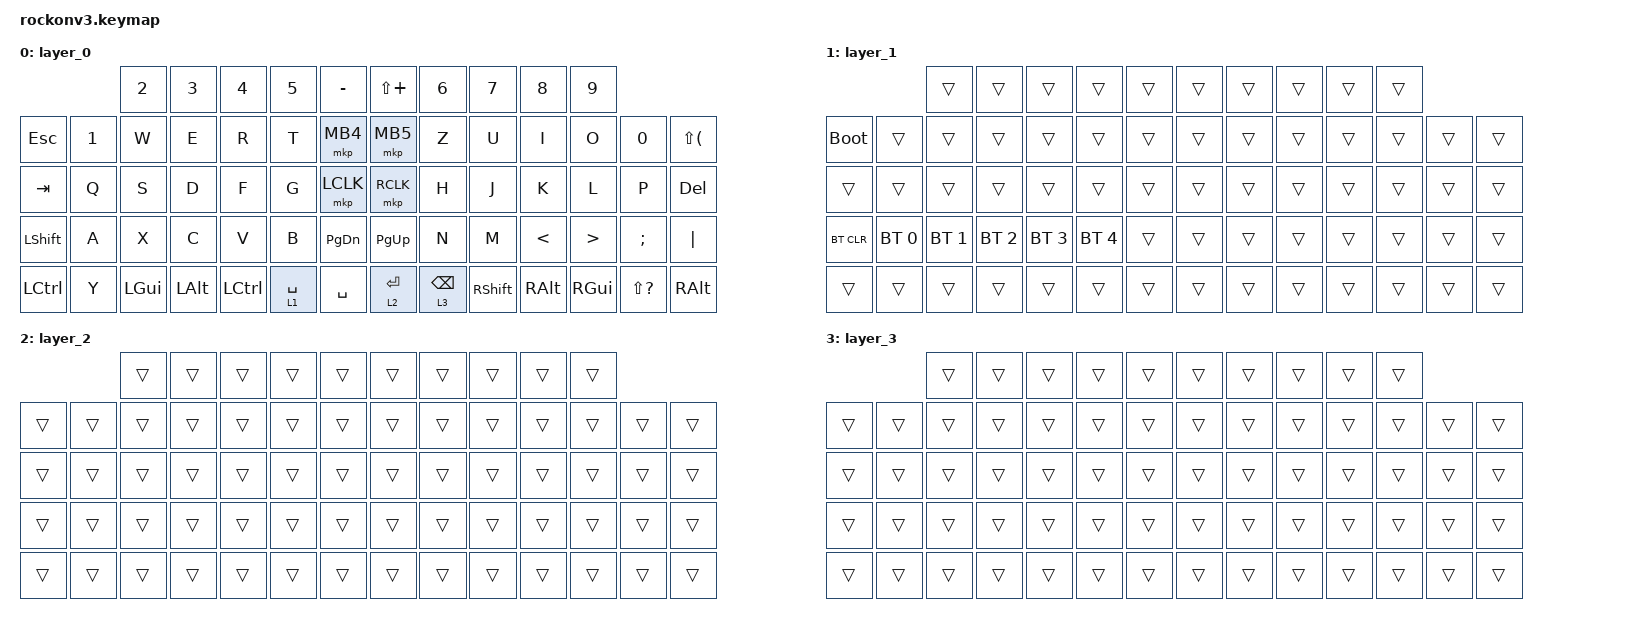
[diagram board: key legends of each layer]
#include "keys_hu.h"
#include <behaviors.dtsi>
#include <dt-bindings/zmk/bt.h>
#include <dt-bindings/zmk/keys.h>

#define BASE 0
#define LOWER 1
#define MOUSE_KEYS 2
#define MOUSE_TP 3
#define MOUSE_TP_SET 4

#define HAS_MOUSE_KEYS
#define HAS_MOUSE_TP

#ifdef HAS_MOUSE_KEYS
  #include <dt-bindings/zmk/mouse.h>
  #include <behaviors/mouse_keys.dtsi>
#endif  // HAS_MOUSE_KEYS

#ifdef HAS_MOUSE_TP
  // We store the trackpoint settings in a separate file
  // to make organization a little easier.
  #include "include/mouse_tp.dtsi"
#endif  // HAS_MOUSE_TP


/ {
    behaviors {
        navhold: navhold {
            compatible = "zmk,behavior-hold-tap";
            label = "NAVHOLD";
            bindings = <&mo>, <&kp>;

            #binding-cells = <2>;
            tapping-term-ms = <200>;
        };
    };

    keymap {
        compatible = "zmk,keymap";

        layer_0 {
            bindings = <
                   &kp N2    &kp N3    &kp N4     &kp N5            &kp MINUS  &kp LS(PLUS)      &kp N6                &kp N7     &kp N8    &kp N9
&kp ESC    &kp N1  &kp W     &kp E     &kp R      &kp T             &mkp MB4   &mkp MB5          &kp Z                 &kp U      &kp I     &kp O     &kp N0         &kp LS(LPAR)
&kp TAB    &kp Q   &kp S     &kp D     &kp F      &kp G             &mkp LCLK  &mkp RCLK         &kp H                 &kp J      &kp K     &kp L     &kp P          &kp DEL
&kp LSHFT  &kp A   &kp X     &kp C     &kp V      &kp B             &kp PG_DN  &kp PG_UP         &kp N                 &kp M      &kp LT    &kp GT    &kp SEMI       &kp PIPE
&kp LCTRL  &kp Y   &kp LGUI  &kp LALT  &kp LCTRL  &navhold 1 SPACE  &kp SPACE  &navhold 2 ENTER  &navhold 3 BACKSPACE  &kp RSHFT  &kp RALT  &kp RGUI  &kp LS(QMARK)  &kp RALT
            >;
        };

        layer_1 {
            bindings = <
                           &trans        &trans        &trans        &trans        &trans  &trans  &trans  &trans  &trans  &trans
&bootloader  &trans        &trans        &trans        &trans        &trans        &trans  &trans  &trans  &trans  &trans  &trans  &trans  &trans
&trans       &trans        &trans        &trans        &trans        &trans        &trans  &trans  &trans  &trans  &trans  &trans  &trans  &trans
&bt BT_CLR   &bt BT_SEL 0  &bt BT_SEL 1  &bt BT_SEL 2  &bt BT_SEL 3  &bt BT_SEL 4  &trans  &trans  &trans  &trans  &trans  &trans  &trans  &trans
&trans       &trans        &trans        &trans        &trans        &trans        &trans  &trans  &trans  &trans  &trans  &trans  &trans  &trans
            >;
        };

        layer_2 {
            bindings = <
                &trans  &trans  &trans  &trans  &trans  &trans  &trans  &trans  &trans  &trans
&trans  &trans  &trans  &trans  &trans  &trans  &trans  &trans  &trans  &trans  &trans  &trans  &trans  &trans
&trans  &trans  &trans  &trans  &trans  &trans  &trans  &trans  &trans  &trans  &trans  &trans  &trans  &trans
&trans  &trans  &trans  &trans  &trans  &trans  &trans  &trans  &trans  &trans  &trans  &trans  &trans  &trans
&trans  &trans  &trans  &trans  &trans  &trans  &trans  &trans  &trans  &trans  &trans  &trans  &trans  &trans
            >;
        };

        layer_3 {
            bindings = <
                &trans  &trans  &trans  &trans  &trans  &trans  &trans  &trans  &trans  &trans
&trans  &trans  &trans  &trans  &trans  &trans  &trans  &trans  &trans  &trans  &trans  &trans  &trans  &trans
&trans  &trans  &trans  &trans  &trans  &trans  &trans  &trans  &trans  &trans  &trans  &trans  &trans  &trans
&trans  &trans  &trans  &trans  &trans  &trans  &trans  &trans  &trans  &trans  &trans  &trans  &trans  &trans
&trans  &trans  &trans  &trans  &trans  &trans  &trans  &trans  &trans  &trans  &trans  &trans  &trans  &trans
            >;
        };
    };
};
